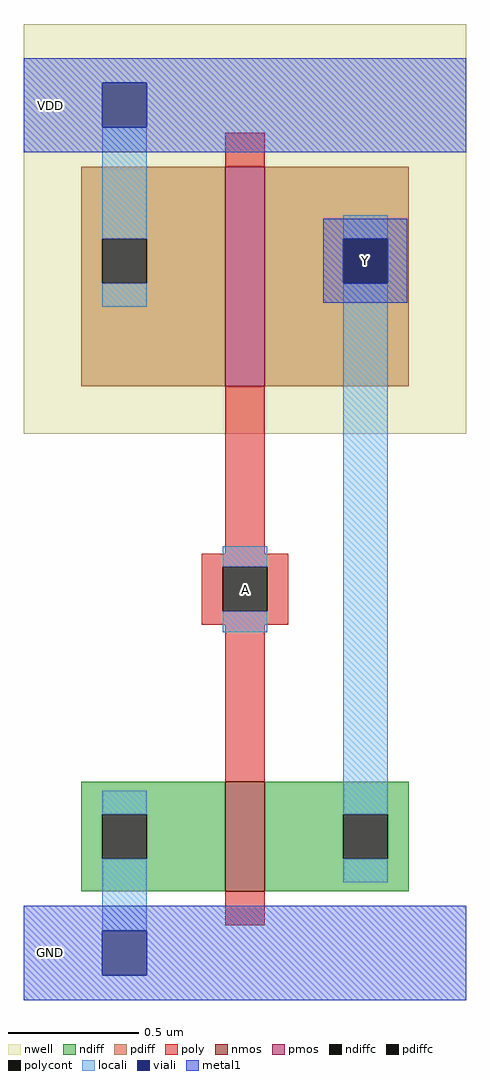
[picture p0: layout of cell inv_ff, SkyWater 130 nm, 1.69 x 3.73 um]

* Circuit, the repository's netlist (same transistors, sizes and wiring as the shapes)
* NGSPICE file created from inv_ff.ext - technology: sky130A

.subckt inv_ff A Y VDD GND
X0 Y A GND VSUBS sky130_fd_pr__nfet_01v8 ad=0.231 pd=1.94 as=0.231 ps=1.94 w=0.42 l=0.15
X1 Y A VDD w_0_397# sky130_fd_pr__pfet_01v8 ad=0.462 pd=2.78 as=0.462 ps=2.78 w=0.84 l=0.15
.ends

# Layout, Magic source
magic
tech sky130A
magscale 1 2
<< nwell >>
rect 0 397 338 710
<< nmos >>
rect 154 47 184 131
<< pmos >>
rect 154 433 184 601
<< ndiff >>
rect 44 106 154 131
rect 44 72 60 106
rect 94 72 154 106
rect 44 47 154 72
rect 184 106 294 131
rect 184 72 244 106
rect 278 72 294 106
rect 184 47 294 72
<< pdiff >>
rect 44 546 154 601
rect 44 512 60 546
rect 94 512 154 546
rect 44 433 154 512
rect 184 546 294 601
rect 184 512 244 546
rect 278 512 294 546
rect 184 433 294 512
<< ndiffc >>
rect 60 72 94 106
rect 244 72 278 106
<< pdiffc >>
rect 60 512 94 546
rect 244 512 278 546
<< poly >>
rect 154 601 184 627
rect 154 305 184 433
rect 136 295 202 305
rect 136 261 152 295
rect 186 261 202 295
rect 136 251 202 261
rect 154 131 184 251
rect 154 21 184 47
<< polycont >>
rect 152 261 186 295
<< locali >>
rect 60 546 94 631
rect 60 494 94 512
rect 244 546 278 564
rect 152 295 186 311
rect 152 245 186 261
rect 60 106 94 124
rect 60 17 94 72
rect 244 106 278 512
rect 244 54 278 72
<< viali >>
rect 60 631 94 665
rect 244 512 278 546
rect 60 -17 94 17
<< metal1 >>
rect 0 665 338 684
rect 0 631 60 665
rect 94 631 338 665
rect 0 612 338 631
rect 229 546 293 561
rect 229 512 244 546
rect 278 512 293 546
rect 229 497 293 512
rect 0 17 338 36
rect 0 -17 60 17
rect 94 -17 338 17
rect 0 -36 338 -17
<< labels >>
rlabel polycont 169 278 169 278 0 A
port 1 nsew
rlabel viali 261 529 261 529 0 Y
port 2 nsew
rlabel metal1 20 648 20 648 0 VDD
port 3 nsew
rlabel metal1 20 0 20 0 0 GND
port 4 nsew
<< end >>
